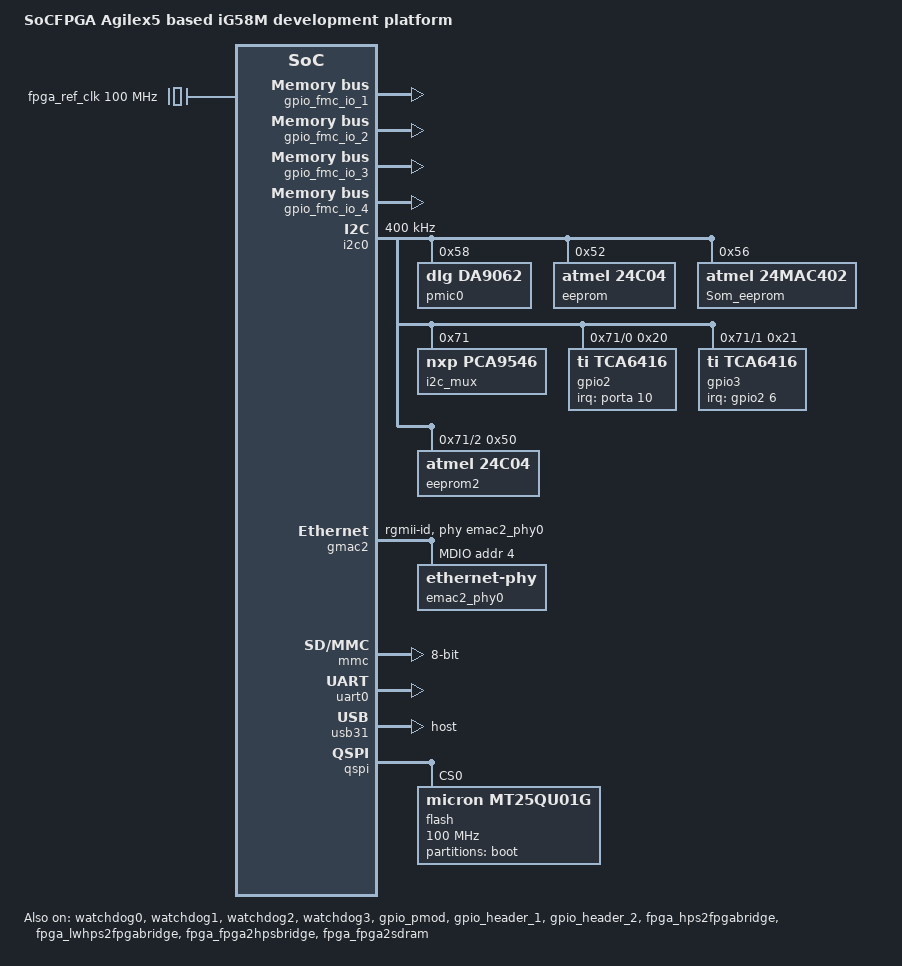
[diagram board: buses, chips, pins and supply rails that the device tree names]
/*
 * Copyright (C) 2025 iWave Global
 * IP Support <support.ip@iwave-global.com>
 */
#include "socfpga_agilex5.dtsi"

/ {
	model = "SoCFPGA Agilex5 based iG58M development platform";
	#address-cells = <2>;
	#size-cells = <2>;

	aliases {
		serial0 = &uart0;
		ethernet0 = &gmac2;
		rtc0 = &da9062_rtc;
	};

	chosen {
		stdout-path = "serial0:115200n8";
		bootargs = "console=ttyS0,115200 earlycon panic=-1";
	};

	iG58m_info {
		compatible = "iwave,iG58m-info";
		status = "okay";
	};

	fpga_ref_clk: ref_clk {
		compatible = "fixed-clock";
		#clock-cells = <0>;
		clock-frequency = <100000000>;
		clock-output-names = "fpga-ref-clk";
		};

		gpio_pmod: gpio@20000020 {
			status = "okay";
			compatible = "altr,pio-1.0";
			reg = <0x0 0x20000020 0x0 0x20>;
			altr,ngpio = <8>;
			#gpio-cells = <2>;
			gpio-controller;
		};

		gpio_fmc_io_1: gpio@20000080 {
			status = "okay";
			compatible = "altr,pio-1.0";
			reg = <0x0 0x20000080 0x0 0x20>;
			altr,ngpio = <32>;
			#gpio-cells = <2>;
			gpio-controller;
		};

		gpio_fmc_io_2: gpio@200000A0 {
			status = "okay";
			compatible = "altr,pio-1.0";
			reg = <0x0 0x200000A0 0x0 0x20>;
			altr,ngpio = <32>;
			#gpio-cells = <2>;
			gpio-controller;
		};

		gpio_fmc_io_3: gpio@200000C0 {
			status = "okay";
			compatible = "altr,pio-1.0";
			reg = <0x0 0x200000C0 0x0 0x20>;
			altr,ngpio = <32>;
			#gpio-cells = <2>;
			gpio-controller;
		};

		gpio_fmc_io_4: gpio@200000E0 {
			status = "okay";
			compatible = "altr,pio-1.0";
			reg = <0x0 0x200000E0 0x0 0x20>;
			altr,ngpio = <29>;
			#gpio-cells = <2>;
			gpio-controller;
		};

		gpio_header_1: gpio@21000040 {
			status = "okay";
			compatible = "altr,pio-1.0";
			reg = <0x0 0x21000040 0x0 0x20>;
			altr,ngpio = <18>;
			#gpio-cells = <2>;
			gpio-controller;
		};

		gpio_header_2: gpio@20000060 {
			status = "okay";
			compatible = "altr,pio-1.0";
			reg = <0x0 0x20000060 0x0 0x20>;
			altr,ngpio = <21>;
			#gpio-cells = <2>;
			gpio-controller;
		};

                /* Adding Bridges */
                fpga_hps2fpgabridge: fpga_bridge@40000000 {
                        compatible = "altr,socfpga-hps2fpga-bridge";
                        reg = <0x40000000 0x40000000>;
                        resets = <&rst SOC2FPGA_RESET>;
                        clocks = <&clkmgr AGILEX5_L4_MAIN_CLK>;
                        status = "okay";
                };

                fpga_lwhps2fpgabridge: fpga_bridge@20000000{
                        compatible = "altr,socfpga-lwhps2fpga-bridge";
                        reg = <0x20000000 0x20000000>;
                        resets = <&rst LWHPS2FPGA_RESET>;
                        clocks = <&clkmgr AGILEX5_L4_MAIN_CLK>;
                        status = "okay";
                };

                fpga_fpga2hpsbridge: fpga-bridge@0 {
                        compatible = "altr,socfpga-fpga2hps-bridge";
                        reg = <0x0 0x20000000>;
                        resets = <&rst FPGA2SOC_RESET>;
                        clocks = <&clkmgr AGILEX5_L4_MAIN_CLK>;
                        status = "okay";
                };

                fpga_fpga2sdram: fpga-bridge@80000000 {
                        compatible = "altr,socfpga-fpga2sdram-bridge";
                        reg = <0x80000000 0x80000000>;
                        resets = <&rst F2SSDRAM0_RESET>;
                        clocks = <&clkmgr AGILEX5_L4_MAIN_CLK>;
                        status = "okay";
                };
	};

&gpio0 {
	status = "okay";
};

&gpio1 {
	status = "okay";
};

&i2c0 {
	status = "okay";
	clock-frequency = <400000>;

	pmic0: da9062@58 {
		compatible = "dlg,da9062";
		reg = <0x58>;

		gpio-controller;
		#gpio-cells = <2>;

		da9062_rtc: rtc {
			compatible = "dlg,da9062-rtc";
			wakeup-source;
		};

		da9062_wdt: watchdog {
			compatible = "dlg,da9062-watchdog";
			status = "okay";
		};

		da9062_gpio: gpio {
			compatible = "dlg,da9062-gpio";
			status = "okay";
		};
	};

	eeprom: eeprom@52 {
		compatible = "atmel,24c04";
		reg = <0x52>;
		pagesize = <16>;
		address-width = <8>;
		size = <512>;
	};

	Som_eeprom: eeprom@56 {
		compatible = "atmel,24mac402";
		reg = <0x56>;
		pagesize = <16>;
		address-width = <8>;
		size = <512>;
	};

	i2c_mux: msd9546@71 {
		compatible = "nxp,pca9546";
		reg = <0x71>;
		status = "okay";
		#address-cells = <1>;
		#size-cells = <0>;

		i2c@0 {
			#address-cells = <1>;
			#size-cells = <0>;
			reg = <0>;

			gpio2: gpio-controller@20 {
				compatible = "ti,tca6416";
				reg = <0x20>;
				#gpio-cells = <2>;
				gpio-controller;
				interrupt-controller;
				#interrupt-cells = <2>;
				interrupt-parent = <&porta>;
				interrupts = <10 IRQ_TYPE_EDGE_FALLING>;
			};
		};

		i2c@1 {
			#address-cells = <1>;
			#size-cells = <0>;
			reg = <1>;

			gpio3: gpio-controller@21 {
				compatible = "ti,tca6416";
				reg = <0x21>;
				#gpio-cells = <2>;
				gpio-controller;
				interrupt-controller;
				#interrupt-cells = <2>;
				interrupt-parent = <&gpio2>;
				interrupts = <6 IRQ_TYPE_EDGE_FALLING>;
			};
		};

		i2c@2 {
			#address-cells = <1>;
			#size-cells = <0>;
			reg = <2>;

			eeprom2: eeprom@50 {
				compatible = "atmel,24c04";
				reg = <0x50>;
				pagesize = <32>;
				address-width = <16>;
				size = <4096>;
			};
		};

		i2c@3 {
			#address-cells = <1>;
			#size-cells = <0>;
			reg = <3>;
		};
	};
};

&gmac2 {
	status = "okay";
	phy-mode = "rgmii-id";
	phy-handle = <&emac2_phy0>;
	max-frame-size = <9000>;
	mdio0 {
		#address-cells = <1>;
		#size-cells = <0>;
		compatible = "snps,dwmac-mdio";
		emac2_phy0: ethernet-phy@4 {
			reg = <4>;
		};
	};
};

&mmc {
	status = "okay";
	bus-width = <8>;
	no-1-8-v;
	cap-sd-highspeed;
	cap-mmc-highspeed;
	disable-wp;
	sd-uhs-sdr50;
	sdhci-caps = <0x00000000 0x0000c800>;
	sdhci-caps-mask = <0x00002000 0x0000ff00>;
	no-sdio;
	cdns,phy-use-ext-lpbk-dqs = <1>;
	cdns,phy-use-lpbk-dqs = <1>;
	cdns,phy-use-phony-dqs = <1>;
	cdns,phy-use-phony-dqs-cmd = <1>;
	cdns,phy-io-mask-always-on = <0>;
	cdns,phy-io-mask-end = <5>;
	cdns,phy-io-mask-start = <0>;
	cdns,phy-data-select-oe-end = <1>;
	cdns,phy-sync-method = <1>;
	cdns,phy-sw-half-cycle-shift = <0>;
	cdns,phy-rd-del-sel = <52>;
	cdns,phy-underrun-suppress = <1>;
	cdns,phy-gate-cfg-always-on = <1>;
	cdns,phy-param-dll-bypass-mode = <1>;
	cdns,phy-param-phase-detect-sel = <2>;
	cdns,phy-param-dll-start-point = <254>;
	cdns,phy-read-dqs-cmd-delay = <0>;
	cdns,phy-clk-wrdqs-delay = <0>;
	cdns,phy-clk-wr-delay = <0>;
	cdns,phy-read-dqs-delay = <0>;
	cdns,phy-phony-dqs-timing = <0>;
	cdns,hrs09-rddata-en = <1>;
	cdns,hrs09-rdcmd-en = <1>;
	cdns,hrs09-extended-wr-mode = <1>;
	cdns,hrs09-extended-rd-mode = <1>;
	cdns,hrs10-hcsdclkadj = <3>;
	cdns,hrs16-wrdata1-sdclk-dly = <0>;
	cdns,hrs16-wrdata0-sdclk-dly = <0>;
	cdns,hrs16-wrcmd1-sdclk-dly = <0>;
	cdns,hrs16-wrcmd0-sdclk-dly = <0>;
	cdns,hrs16-wrdata1-dly = <0>;
	cdns,hrs16-wrdata0-dly = <0>;
	cdns,hrs16-wrcmd1-dly = <0>;
	cdns,hrs16-wrcmd0-dly = <0>;
	cdns,hrs07-rw-compensate = <10>;
	cdns,hrs07-idelay-val = <0>;
};

&osc1 {
	clock-frequency = <25000000>;
};

&uart0 {
    status = "okay";
};


&usb31 {
	status = "okay";
	dr_mode = "host";
};

&smmu {
	status = "okay";
};

&watchdog0 {
	status = "okay";
};

&watchdog1 {
	status = "okay";
};

&watchdog2 {
	status = "okay";
};

&watchdog3 {
	status = "okay";
};

&qspi {
	status = "okay";
	flash@0 {
		#address-cells = <1>;
		#size-cells = <1>;
		compatible = "micron,mt25qu01g", "jedec,spi-nor";
		reg = <0>;
		spi-max-frequency = <100000000>;
		m25p,fast-read;
		cdns,page-size = <256>;
		cdns,block-size = <16>;
		cdns,read-delay = <2>;
		cdns,tshsl-ns = <50>;
		cdns,tsd2d-ns = <50>;
		cdns,tchsh-ns = <4>;
		cdns,tslch-ns = <4>;

		partitions {
			compatible = "fixed-partitions";
			#address-cells = <1>;
			#size-cells = <1>;
			qspi_boot: partition@0 {
				label = "boot";
				reg = <0x00000000 0x08000000>;
			};


		};
	};
};

&temp_volt {
	voltage {
		#address-cells = <1>;
		#size-cells = <0>;
		input@2 {
			label = "0.8V VCC";
			reg = <2>;
		};

		input@3 {
			label = "1.8V VCCIO_SDM";
			reg = <3>;
		};

		input@4 {
			label = "1.8V VCCPT";
			reg = <4>;
		};

		input@5 {
			label = "1.2V VCCCRCORE";
			reg = <5>;
			};

		input@6 {
			label = "0.9V VCCH";
			reg = <6>;
			};

		input@7 {
			label = "0.8V VCCL";
			reg = <7>;
			};
		};

	temperature {
		#address-cells = <1>;
		#size-cells = <0>;

		input@0 {
			label = "Main Die SDM";
			reg = <0x0>;
		};
		input@10000 {
			label = "Main Die corner bottom left max";
			reg = <0x10000>;
		};
		input@10002 {
			label = "Main Die corner bottom left 2";
			reg = <0x10002>;
		};
		input@10003 {
			label = "Main Die corner bottom left 3";
			reg = <0x10003>;
		};
		input@10004 {
			label = "Main Die corner bottom left 4";
			reg = <0x10004>;
		};

		input@30000 {
			label = "Main Die corner bottom right max";
			reg = <0x30000>;
		};
		input@30002 {
			label = "Main Die corner bottom right 2";
			reg = <0x30002>;
		};
		input@30003 {
			label = "Main Die corner bottom right 3";
			reg = <0x30003>;
		};
		input@40000 {
			label = "Main Die corner top right max";
			reg = <0x40000>;
		};
		input@40003 {
			label = "Main Die corner top right 3";
			reg = <0x40003>;
		};
		input@40004 {
			label = "Main Die corner top right 4";
			reg = <0x40004>;
		};
		input@40005 {
			label = "Main Die corner top right 5 - HPS";
			reg = <0x40005>;
		};
	};
};

